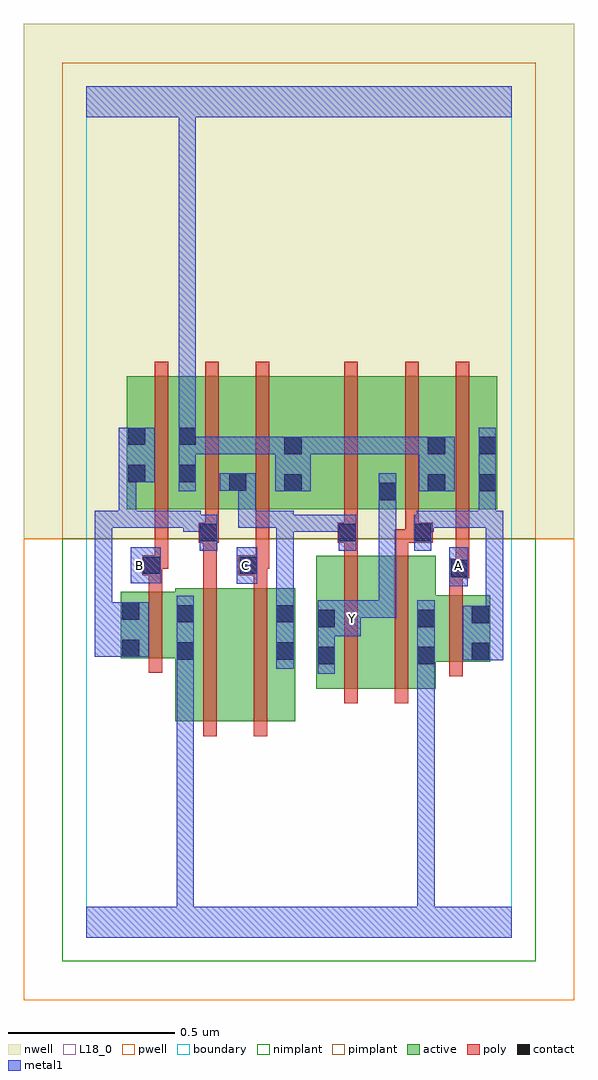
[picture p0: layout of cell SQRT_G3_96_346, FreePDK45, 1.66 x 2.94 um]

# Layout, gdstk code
import gdstk
lib = gdstk.Library(unit=1e-6, precision=1e-09)
def R(c, l, rs):  # rectangles x0, y0, x1, y1
    for r in rs: c.add(gdstk.rectangle(r[:2], r[2:], *l))
def A(c, l, x, y, w, h, nx, ny, dx, dy):  # array of equal rectangles
    R(c, l, [(x+i*dx, y+j*dy, x+i*dx+w, y+j*dy+h) for i in range(nx) for j in range(ny)])
active = (1, 0)
pwell = (2, 0)
nwell = (3, 0)
nimplant = (4, 0)
pimplant = (5, 0)
poly = (9, 0)
contact = (10, 0)
metal1 = (11, 0)
L18_0 = (18, 0)
boundary = (235, 0)

sqrt_g3_96_346 = lib.new_cell('SQRT_G3_96_346')
R(sqrt_g3_96_346, active, [(0.268,0.65,0.448,1.05), (0.268,0.65,0.328,1.04), (0.448,0.65,0.628,1.05), (0.692,0.748,0.872,1.148), (0.872,0.748,1.052,1.148), (0.992,0.748,1.052,0.99), (0.568,0.756,0.628,1.05), (0.692,0.756,0.752,1.148), (0.992,0.83,1.216,1.03), (1.156,0.83,1.216,1.03), (0.104,0.84,0.164,1.04), (0.104,0.84,0.328,1.04), (0.122,1.288,0.334,1.688), (0.122,1.288,0.182,1.688), (0.274,1.288,0.334,1.644), (0.274,1.288,0.486,1.688), (0.426,1.288,0.486,1.644), (0.426,1.288,0.652,1.688), (0.592,1.288,0.652,1.644), (0.592,1.288,0.936,1.688), (0.876,1.288,0.936,1.644), (0.876,1.288,1.084,1.688), (1.024,1.288,1.084,1.644), (1.024,1.288,1.236,1.688), (1.176,1.288,1.236,1.644)])
R(sqrt_g3_96_346, pwell, [(-0.188,-0.188,1.468,1.2)])
R(sqrt_g3_96_346, nwell, [(-0.188,1.2,1.468,2.748)])
R(sqrt_g3_96_346, nimplant, [(-0.072,-0.072,1.352,1.2)])
R(sqrt_g3_96_346, pimplant, [(-0.072,1.2,1.352,2.632)])
A(sqrt_g3_96_346, poly, 0.206, 1.244, 0.04, 0.488, 3, 1, 0.152, 0)
R(sqrt_g3_96_346, poly, [(0.352,0.606,0.392,1.094), (0.504,0.606,0.544,1.094), (0.776,0.704,0.816,1.192), (0.928,0.704,0.968,1.192), (1.092,0.786,1.132,1.074), (0.188,0.796,0.228,1.084), (1.092,1.034,1.132,1.12), (0.188,1.044,0.228,1.13), (0.352,1.054,0.392,1.228), (0.504,1.054,0.544,1.13), (1.092,1.08,1.152,1.14), (0.168,1.09,0.228,1.15), (0.458,1.09,0.544,1.15), (1.112,1.1,1.152,1.284), (1.112,1.1,1.152,1.14), (1.112,1.1,1.152,1.14), (0.188,1.11,0.228,1.15), (0.188,1.11,0.246,1.15), (0.206,1.11,0.246,1.284), (0.504,1.11,0.544,1.15), (0.504,1.11,0.55,1.15), (0.51,1.11,0.55,1.284), (0.776,1.152,0.816,1.228), (0.928,1.152,0.968,1.228), (0.338,1.188,0.398,1.248), (0.352,1.188,0.392,1.228), (0.352,1.188,0.392,1.228), (0.756,1.188,0.816,1.248), (0.776,1.188,0.816,1.228), (0.776,1.188,0.816,1.228), (0.928,1.188,1,1.228), (0.96,1.188,1,1.228), (0.96,1.188,1.042,1.248), (0.358,1.208,0.398,1.284), (0.776,1.208,0.816,1.284), (0.96,1.208,1,1.284), (0.776,1.244,0.816,1.732), (0.96,1.244,1,1.732), (1.112,1.244,1.152,1.732)])
R(sqrt_g3_96_346, contact, [(0.696,0.822,0.748,0.874), (0.996,0.822,1.048,0.874), (1.16,0.834,1.212,0.886), (0.272,0.836,0.324,0.888), (0.572,0.836,0.624,0.888), (0.108,0.844,0.16,0.896), (0.696,0.934,0.748,0.986), (0.996,0.934,1.048,0.986), (1.16,0.946,1.212,0.998), (0.272,0.948,0.324,1), (0.572,0.948,0.624,1), (0.108,0.956,0.16,1.008), (1.096,1.084,1.148,1.136), (0.172,1.094,0.224,1.146), (0.462,1.094,0.514,1.146), (0.342,1.192,0.394,1.244), (0.76,1.192,0.812,1.244), (0.986,1.192,1.038,1.244), (0.88,1.316,0.932,1.368), (0.596,1.342,0.648,1.394), (1.028,1.342,1.08,1.394), (1.18,1.342,1.232,1.394), (0.43,1.344,0.482,1.396), (0.126,1.37,0.178,1.422), (0.278,1.37,0.33,1.422), (0.596,1.454,0.648,1.506), (1.028,1.454,1.08,1.506), (1.18,1.454,1.232,1.506), (0.126,1.482,0.178,1.534), (0.278,1.482,0.33,1.534)])
R(sqrt_g3_96_346, metal1, [(0,0,1.28,0.092), (0.272,0.04,0.324,0.092), (0.272,0.04,0.324,0.092), (0.272,0.04,0.324,0.86), (0.996,0.04,1.048,0.092), (0.996,0.04,1.048,0.092), (0.996,0.04,1.048,0.092), (0.996,0.04,1.048,0.092), (0.996,0.04,1.048,0.092), (0.996,0.04,1.048,0.092), (0.996,0.04,1.048,0.846), (0.696,0.794,0.748,1.014), (0.996,0.794,1.048,1.014), (0.996,0.794,1.048,0.846), (0.996,0.794,1.048,0.846), (0.996,0.794,1.048,0.846), (0.996,0.794,1.048,0.846), (0.996,0.794,1.048,0.846), (0.996,0.794,1.048,0.846), (0.272,0.808,0.324,1.028), (0.272,0.808,0.324,0.86), (0.272,0.808,0.324,0.86), (0.272,0.808,0.324,0.86), (0.272,0.808,0.324,0.86), (0.272,0.808,0.324,0.86), (0.272,0.808,0.324,0.86), (0.272,0.808,0.324,0.86), (0.272,0.808,0.324,0.86), (0.272,0.808,0.324,0.86), (0.272,0.808,0.324,0.86), (0.572,0.808,0.624,1.028), (1.132,0.834,1.254,0.998), (0.026,0.844,0.188,1.008), (0.696,0.906,0.748,0.958), (0.696,0.906,0.826,1.014), (1.202,0.946,1.254,1.284), (0.026,0.956,0.078,1.008), (0.026,0.956,0.078,1.008), (0.026,0.956,0.078,1.284), (0.774,0.962,0.826,1.014), (0.774,0.962,0.826,1.014), (0.774,0.962,0.932,1.014), (0.88,0.962,0.932,1.014), (0.88,0.962,0.932,1.34), (0.572,0.976,0.624,1.028), (0.572,0.976,0.624,1.028), (0.572,0.976,0.624,1.272), (1.092,1.056,1.148,1.174), (0.452,1.064,0.514,1.174), (0.134,1.066,0.224,1.174), (0.342,1.164,0.394,1.272), (0.76,1.164,0.812,1.272), (0.986,1.164,1.038,1.272), (0.292,1.22,0.344,1.284), (0.292,1.22,0.394,1.272), (0.572,1.22,0.624,1.284), (0.572,1.22,0.812,1.272), (0.76,1.22,0.812,1.272), (0.76,1.22,0.812,1.272), (0.986,1.22,1.046,1.272), (0.994,1.22,1.046,1.284), (0.026,1.232,0.15,1.284), (0.098,1.232,0.15,1.284), (0.098,1.232,0.15,1.284), (0.098,1.232,0.344,1.284), (0.098,1.232,0.15,1.422), (0.458,1.232,0.51,1.284), (0.458,1.232,0.51,1.284), (0.458,1.232,0.51,1.284), (0.458,1.232,0.624,1.284), (0.458,1.232,0.51,1.396), (0.994,1.232,1.232,1.284), (1.18,1.232,1.232,1.366), (1.18,1.232,1.232,1.284), (1.18,1.232,1.232,1.284), (1.18,1.232,1.254,1.284), (1.202,1.232,1.254,1.284), (1.202,1.232,1.254,1.284), (0.88,1.288,0.932,1.34), (0.88,1.288,0.932,1.34), (0.88,1.288,0.932,1.396), (1.18,1.314,1.232,1.534), (0.278,1.342,0.33,1.562), (0.568,1.342,0.676,1.506), (1,1.342,1.108,1.506), (0.402,1.344,0.51,1.396), (0.098,1.37,0.206,1.534), (0.278,1.454,0.33,1.506), (0.278,1.454,0.33,1.506), (0.278,1.454,0.504,1.506), (0.452,1.454,0.504,1.506), (0.452,1.454,0.504,1.506), (0.452,1.454,0.504,1.506), (0.452,1.454,0.62,1.506), (0.624,1.454,0.676,1.506), (0.624,1.454,0.676,1.506), (0.624,1.454,0.822,1.506), (0.77,1.454,0.822,1.506), (0.77,1.454,0.936,1.506), (0.884,1.454,0.936,1.506), (0.884,1.454,0.936,1.506), (0.884,1.454,0.936,1.506), (0.884,1.454,1.052,1.506), (0.278,1.51,0.33,1.562), (0.278,1.51,0.33,1.562), (0.278,1.51,0.33,2.52), (0,2.468,1.28,2.56), (0.278,2.468,0.33,2.52), (0.278,2.468,0.33,2.52), (0.278,2.468,0.33,2.52), (0.278,2.468,0.33,2.52), (0.278,2.468,0.33,2.52), (0.278,2.468,0.33,2.52), (0.278,2.468,0.33,2.52), (0.278,2.468,0.33,2.52), (0.278,2.468,0.33,2.52), (0.278,2.468,0.33,2.52), (0.278,2.468,0.33,2.52), (0.278,2.468,0.33,2.52), (0.278,2.468,0.33,2.52), (0.278,2.468,0.33,2.52)])
R(sqrt_g3_96_346, L18_0, [(0,0,1.28,0.092), (0.272,0.04,0.324,0.092), (0.272,0.04,0.324,0.092), (0.272,0.04,0.324,0.86), (0.996,0.04,1.048,0.092), (0.996,0.04,1.048,0.092), (0.996,0.04,1.048,0.092), (0.996,0.04,1.048,0.092), (0.996,0.04,1.048,0.092), (0.996,0.04,1.048,0.092), (0.996,0.04,1.048,0.846), (0.696,0.794,0.748,1.014), (0.996,0.794,1.048,0.846), (0.996,0.794,1.048,0.846), (0.996,0.794,1.048,0.846), (0.996,0.794,1.048,0.846), (0.996,0.794,1.048,0.846), (0.996,0.794,1.048,0.846), (0.996,0.794,1.048,1.014), (0.272,0.808,0.324,0.86), (0.272,0.808,0.324,0.86), (0.272,0.808,0.324,0.86), (0.272,0.808,0.324,0.86), (0.272,0.808,0.324,0.86), (0.272,0.808,0.324,0.86), (0.272,0.808,0.324,0.86), (0.272,0.808,0.324,0.86), (0.272,0.808,0.324,0.86), (0.272,0.808,0.324,0.86), (0.272,0.808,0.324,1.028), (0.696,0.906,0.748,0.958), (0.696,0.906,0.826,1.014), (0.774,0.934,0.826,0.986), (0.774,0.962,0.826,1.014), (0.774,0.962,0.826,1.014), (0.774,0.962,0.932,1.014), (0.88,0.962,0.932,1.014), (0.88,0.962,0.932,1.34), (1.092,1.056,1.148,1.174), (0.452,1.064,0.514,1.174), (0.134,1.066,0.224,1.174), (0.134,1.094,0.186,1.146), (0.454,1.094,0.506,1.146), (1.094,1.094,1.146,1.146), (0.88,1.288,0.932,1.34), (0.88,1.288,0.932,1.34), (0.88,1.288,0.932,1.396), (0.278,1.342,0.33,1.562), (0.568,1.342,0.676,1.506), (1,1.342,1.108,1.506), (0.278,1.454,0.33,1.506), (0.278,1.454,0.33,1.506), (0.278,1.454,0.504,1.506), (0.452,1.454,0.504,1.506), (0.452,1.454,0.504,1.506), (0.452,1.454,0.504,1.506), (0.452,1.454,0.62,1.506), (0.624,1.454,0.676,1.506), (0.624,1.454,0.676,1.506), (0.624,1.454,0.822,1.506), (0.77,1.454,0.822,1.506), (0.77,1.454,0.936,1.506), (0.884,1.454,0.936,1.506), (0.884,1.454,0.936,1.506), (0.884,1.454,0.936,1.506), (0.884,1.454,1.052,1.506), (0.278,1.51,0.33,1.562), (0.278,1.51,0.33,1.562), (0.278,1.51,0.33,2.52), (0,2.468,1.28,2.56), (0.278,2.468,0.33,2.52), (0.278,2.468,0.33,2.52), (0.278,2.468,0.33,2.52), (0.278,2.468,0.33,2.52), (0.278,2.468,0.33,2.52), (0.278,2.468,0.33,2.52), (0.278,2.468,0.33,2.52), (0.278,2.468,0.33,2.52), (0.278,2.468,0.33,2.52), (0.278,2.468,0.33,2.52), (0.278,2.468,0.33,2.52), (0.278,2.468,0.33,2.52), (0.278,2.468,0.33,2.52), (0.278,2.468,0.33,2.52)])
R(sqrt_g3_96_346, boundary, [(0,0,1.28,2.56)])
sqrt_g3_96_346.add(gdstk.Label('A', (1.12,1.12), layer=11, texttype=0))
sqrt_g3_96_346.add(gdstk.Label('B', (0.16,1.12), layer=11, texttype=0))
sqrt_g3_96_346.add(gdstk.Label('C', (0.48,1.12), layer=11, texttype=0))
sqrt_g3_96_346.add(gdstk.Label('Y', (0.8,0.96), layer=11, texttype=0))

lib.write_gds('SQRT_G3_96_346.gds')
